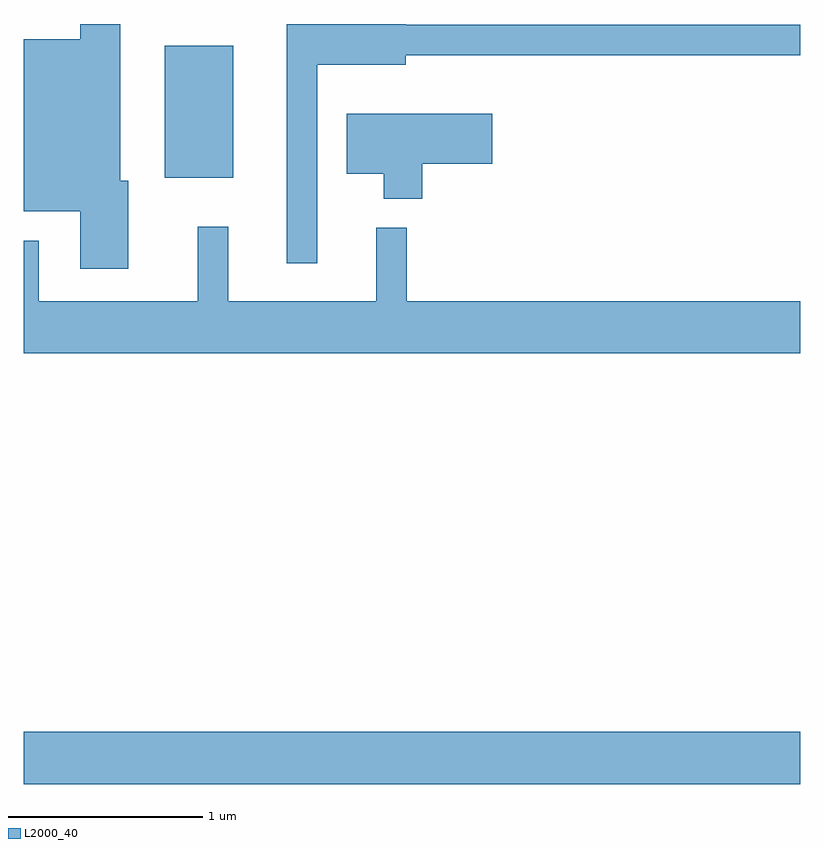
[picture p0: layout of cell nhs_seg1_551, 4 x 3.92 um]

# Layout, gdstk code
import gdstk
lib = gdstk.Library(unit=1e-6, precision=1e-09)
def R(c, l, rs):  # rectangles x0, y0, x1, y1
    for r in rs: c.add(gdstk.rectangle(r[:2], r[2:], *l))
def P(c, l, *ps):  # polygons
    for p in ps: c.add(gdstk.Polygon(p, *l))
L2000_40 = (2000, 40)

nhs_seg1_551 = lib.new_cell('nhs_seg1_551')
R(nhs_seg1_551, L2000_40, [(201.611,901.796,205.611,902.064), (202.336,904.921,202.689,905.599)])
P(nhs_seg1_551, L2000_40, [(202.149,904.904),(202.109,904.904),(202.109,905.712),(201.901,905.712),(201.901,905.634),(201.611,905.634),(201.611,904.746),(201.901,904.746),(201.901,904.451),(202.149,904.451)],
  [(203.124,905.501),(203.579,905.501),(203.579,905.551),(205.611,905.551),(205.611,905.709),(203.579,905.709),(203.579,905.712),(202.966,905.712),(202.966,904.478),(203.124,904.478)],
  [(203.664,904.991),(204.024,904.991),(204.024,905.249),(203.276,905.249),(203.276,904.941),(203.466,904.941),(203.466,904.811),(203.664,904.811)],
  [(205.611,904.284),(203.584,904.284),(203.584,904.663),(203.426,904.663),(203.426,904.284),(202.664,904.284),(202.664,904.668),(202.506,904.668),(202.506,904.284),(201.689,904.284),(201.689,904.594),(201.611,904.594),(201.611,904.016),(205.611,904.016)])

lib.write_gds('nhs_seg1_551.gds')
